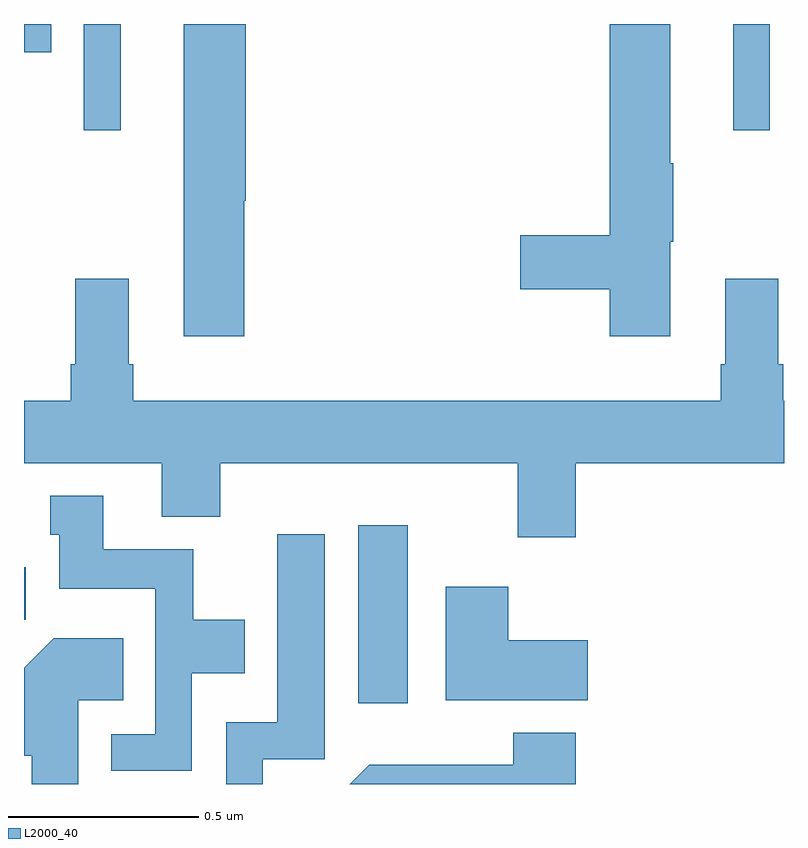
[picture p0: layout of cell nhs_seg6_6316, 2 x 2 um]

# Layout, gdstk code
import gdstk
lib = gdstk.Library(unit=1e-6, precision=1e-09)
def R(c, l, rs):  # rectangles x0, y0, x1, y1
    for r in rs: c.add(gdstk.rectangle(r[:2], r[2:], *l))
def P(c, l, *ps):  # polygons
    for p in ps: c.add(gdstk.Polygon(p, *l))
L2000_40 = (2000, 40)

nhs_seg6_6316 = lib.new_cell('nhs_seg6_6316')
R(nhs_seg6_6316, L2000_40, [(194.879,938.712,195.01,939.181), (194,938.932,194.005,939.07), (194.157,940.221,194.254,940.5), (195.866,940.221,195.963,940.5), (194,940.426,194.072,940.5)])
P(nhs_seg6_6316, L2000_40, [(194.579,940.035),(194.584,940.035),(194.584,940.5),(194.42,940.5),(194.42,939.678),(194.579,939.678)],
  [(195.7,939.927),(195.708,939.927),(195.708,940.133),(195.7,940.133),(195.7,940.5),(195.542,940.5),(195.542,939.944),(195.306,939.944),(195.306,939.802),(195.542,939.802),(195.542,939.678),(195.7,939.678)],
  [(195.452,939.344),(196,939.344),(196,939.508),(195.998,939.508),(195.998,939.604),(195.985,939.604),(195.985,939.829),(195.845,939.829),(195.845,939.604),(195.833,939.604),(195.833,939.508),(194.288,939.508),(194.288,939.604),(194.275,939.604),(194.275,939.829),(194.135,939.829),(194.135,939.604),(194.123,939.604),(194.123,939.508),(194,939.508),(194,939.344),(194.363,939.344),(194.363,939.203),(194.516,939.203),(194.516,939.344),(195.299,939.344),(195.299,939.15),(195.452,939.15)],
  [(194.442,938.792),(194.581,938.792),(194.581,938.932),(194.445,938.932),(194.445,939.118),(194.209,939.118),(194.209,939.259),(194.069,939.259),(194.069,939.156),(194.093,939.156),(194.093,939.014),(194.346,939.014),(194.346,938.631),(194.229,938.631),(194.229,938.535),(194.442,938.535)],
  [(194.628,938.565),(194.791,938.565),(194.791,939.157),(194.666,939.157),(194.666,938.662),(194.532,938.662),(194.532,938.5),(194.628,938.5)],
  [(195.484,938.878),(195.274,938.878),(195.274,939.019),(195.11,939.019),(195.11,938.72),(195.484,938.72)],
  [(194.143,938.72),(194.261,938.72),(194.261,938.884),(194.078,938.884),(194,938.806),(194,938.574),(194.021,938.574),(194.021,938.5),(194.143,938.5)],
  [(195.452,938.635),(195.287,938.635),(195.287,938.551),(194.908,938.551),(194.857,938.5),(195.452,938.5)])

lib.write_gds('nhs_seg6_6316.gds')
